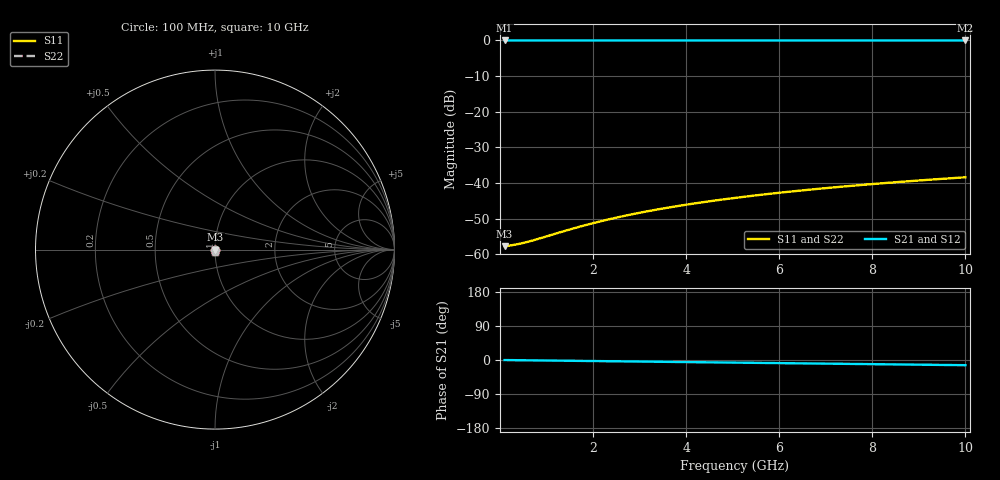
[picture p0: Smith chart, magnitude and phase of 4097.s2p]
# Hz S RI R 50.00
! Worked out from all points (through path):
!   100 points, 100 MHz to 10 GHz, reference 50 ohm
!   highest |S21| = -0.01 dB at 100 MHz (marker M1); lowest = 0.0 dB at 10 GHz (marker M2)
!   group delay of S21, straight-line fit = 3.81 ps
!   lowest |S11| = -57.8 dB at 100 MHz (marker M3), VSWR 1.00, Z = 50.1 - j0.0122 ohm
!   |S11| at or under -10 dB: start of sweep to end of sweep
!   |S22| runs from -57.8 to -38.4 dB; largest |S21 - S12| = 0
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1e8  0.00129 -0.000122  0.9987 -0.00238  0.9987 -0.00238  0.00129 -0.000122
2e8  0.00129 -0.000243  0.9987 -0.00477  0.9987 -0.00477  0.00129 -0.000243
3e8  0.0013 -0.000365  0.9987 -0.00715  0.9987 -0.00715  0.0013 -0.000365
4e8  0.0013 -0.000486  0.9986 -0.00953  0.9986 -0.00953  0.0013 -0.000486
6e8  0.0013 -0.00073  0.9986 -0.0143  0.9986 -0.0143  0.0013 -0.00073
8e8  0.0013 -0.000973  0.9985 -0.0191  0.9985 -0.0191  0.0013 -0.000973
1.5e9  0.00126 -0.00182  0.998 -0.0357  0.998 -0.0357  0.00126 -0.00182
1.8e9  0.00124 -0.00219  0.9977 -0.0429  0.9977 -0.0429  0.00124 -0.00219
2.2e9  0.00119 -0.00268  0.9972 -0.0524  0.9972 -0.0524  0.00119 -0.00268
2.6e9  0.00114 -0.00316  0.9967 -0.0619  0.9967 -0.0619  0.00114 -0.00316
3e9  0.00108 -0.00365  0.996 -0.0715  0.996 -0.0715  0.00108 -0.00365
3.4e9  0.00101 -0.00413  0.9953 -0.081  0.9953 -0.081  0.00101 -0.00413
3.8e9  0.000925 -0.00462  0.9944 -0.0905  0.9944 -0.0905  0.000925 -0.00462
4.2e9  0.000834 -0.0051  0.9935 -0.1  0.9935 -0.1  0.000834 -0.0051
4.6e9  0.000734 -0.00558  0.9925 -0.1095  0.9925 -0.1095  0.000734 -0.00558
5.1e9  0.000596 -0.00618  0.9911 -0.1213  0.9911 -0.1213  0.000596 -0.00618
5.9e9  0.000345 -0.00714  0.9886 -0.1403  0.9886 -0.1403  0.000345 -0.00714
6.7e9  5.8e-05 -0.00809  0.9857 -0.1592  0.9857 -0.1592  5.8e-05 -0.00809
7.5e9  -0.000266 -0.00903  0.9824 -0.1781  0.9824 -0.1781  -0.000266 -0.00903
8.4e9  -0.000673 -0.0101  0.9783 -0.1992  0.9783 -0.1992  -0.000673 -0.0101
9.2e9  -0.00107 -0.011  0.9743 -0.2179  0.9743 -0.2179  -0.00107 -0.011
1e10  -0.00151 -0.0119  0.9699 -0.2366  0.9699 -0.2366  -0.00151 -0.0119
